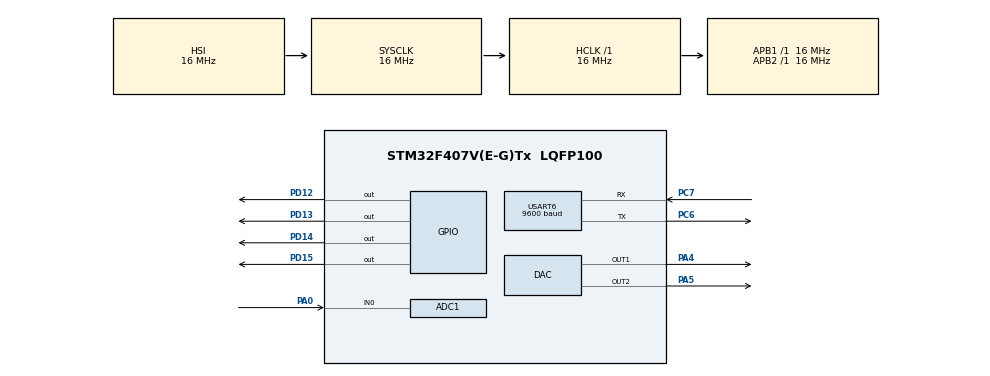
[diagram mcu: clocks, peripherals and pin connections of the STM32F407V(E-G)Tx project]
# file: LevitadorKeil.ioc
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Mcu.Family=STM32F4
SH.COMP_DAC1_group.0=DAC_OUT1,DAC_OUT1
RCC.CortexFreq_Value=16000000
ADC1.Rank-0\#ChannelRegularConversion=1
Dma.ADC1.1.MemDataAlignment=DMA_MDATAALIGN_HALFWORD
TIM3.Channel-Output\ Compare1\ No\ Output=TIM_CHANNEL_1
Dma.USART6_RX.0.PeriphInc=DMA_PINC_DISABLE
PC6.Signal=USART6_TX
NVIC.DMA2_Stream1_IRQn=true\:0\:0\:false\:false\:true\:false\:true
ProjectManager.StackSize=0x400
PA0-WKUP.Signal=ADCx_IN0
SH.COMP_DAC2_group.0=DAC_OUT2,DAC_OUT2
PD13.Signal=GPIO_Output
Dma.USART6_RX.0.Instance=DMA2_Stream1
Dma.USART6_RX.0.FIFOMode=DMA_FIFOMODE_DISABLE
Dma.USART6_RX.0.Direction=DMA_PERIPH_TO_MEMORY
ProjectManager.TargetToolchain=MDK-ARM V5.27
Dma.ADC1.1.Instance=DMA2_Stream0
PC6.Mode=Asynchronous
TIM3.Period=21600-1
PC7.Signal=USART6_RX
ADC1.InjNumberOfConversion=0
Dma.ADC1.1.PeriphDataAlignment=DMA_PDATAALIGN_HALFWORD
VP_TIM8_VS_ClockSourceINT.Mode=Internal
NVIC.DMA2_Stream0_IRQn=true\:0\:0\:false\:false\:true\:false\:true
RCC.LSE_VALUE=32768
RCC.AHBFreq_Value=16000000
PA5.Signal=COMP_DAC2_group
ADC1.Channel-0\#ChannelRegularConversion=ADC_CHANNEL_0
RCC.HSE_VALUE=25000000
ADC1.ScanConvMode=ENABLE
board=custom
VP_TIM3_VS_no_output1.Mode=Output Compare1 No Output
RCC.VCOOutputFreq_Value=192000000
NVIC.TIM3_IRQn=true\:0\:0\:false\:false\:true\:true\:true
ADC1.EnableAnalogWatchDog=false
DAC.DAC_Trigger2=DAC_TRIGGER_T8_TRGO
Dma.ADC1.1.FIFOMode=DMA_FIFOMODE_DISABLE
RCC.APB2Freq_Value=16000000
DAC.DAC_Trigger=DAC_TRIGGER_T8_TRGO
TIM3.Prescaler=10000-1
Dma.ADC1.1.Priority=DMA_PRIORITY_LOW
Dma.ADC1.1.Mode=DMA_CIRCULAR
SH.ADCx_IN0.0=ADC1_IN0,IN0
Dma.ADC1.1.PeriphInc=DMA_PINC_DISABLE
ADC1.DMAContinuousRequests=ENABLE
ADC1.NbrOfConversion=1
Mcu.Name=STM32F407V(E-G)Tx
ADC1.SamplingTime-0\#ChannelRegularConversion=ADC_SAMPLETIME_15CYCLES
ADC1.ExternalTrigConv=ADC_EXTERNALTRIGCONV_T8_TRGO
TIM8.Period=2000
PD14.Signal=GPIO_Output
PA4.Signal=COMP_DAC1_group
RCC.SYSCLKFreq_VALUE=16000000
Dma.USART6_RX.0.PeriphDataAlignment=DMA_PDATAALIGN_BYTE
Mcu.Package=LQFP100
ADC1.master=1
TIM8.TIM_MasterOutputTrigger=TIM_TRGO_UPDATE
USART6.VirtualMode=VM_ASYNC
Dma.ADC1.1.Direction=DMA_PERIPH_TO_MEMORY
PD12.Signal=GPIO_Output
Dma.ADC1.1.MemInc=DMA_MINC_ENABLE
Dma.USART6_RX.0.Mode=DMA_CIRCULAR
ProjectManager.HeapSize=0x200
USART6.BaudRate=9600
RCC.HSI_VALUE=16000000
Dma.USART6_RX.0.Priority=DMA_PRIORITY_LOW
Dma.USART6_RX.0.MemDataAlignment=DMA_MDATAALIGN_BYTE
NVIC.PriorityGroup=NVIC_PRIORITYGROUP_4
TIM8.Prescaler=7200-1
ADC1.NbrOfConversionFlag=1
Dma.USART6_RX.0.MemInc=DMA_MINC_ENABLE
Dma.Request1=ADC1
PC7.Mode=Asynchronous
Dma.Request0=USART6_RX
RCC.APB1Freq_Value=16000000
PD15.Signal=GPIO_Output

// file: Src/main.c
/* USER CODE BEGIN Header */
/**
  ******************************************************************************
  * @file           : main.c
  * @brief          : Main program body
  ******************************************************************************
  * @attention
  *
  * <h2><center>&copy; Copyright (c) 2021 STMicroelectronics.
  * All rights reserved.</center></h2>
  *
  * This software component is licensed by ST under BSD 3-Clause license,
  * the "License"; You may not use this file except in compliance with the
  * License. You may obtain a copy of the License at:
  *                        opensource.org/licenses/BSD-3-Clause
  *
  ******************************************************************************
  */
/* USER CODE END Header */
#include "main.h"

/* USER CODE BEGIN Includes */
#include <stdio.h>
#include <string.h>
#include "comm.h"
/* USER CODE END Includes */

ADC_HandleTypeDef hadc1;
DMA_HandleTypeDef hdma_adc1;

DAC_HandleTypeDef hdac;

TIM_HandleTypeDef htim3;
TIM_HandleTypeDef htim8;

UART_HandleTypeDef huart6;
DMA_HandleTypeDef hdma_usart6_rx;

/* USER CODE BEGIN PV */
	uint8_t rxData;
	uint8_t inputBuffer[30];
	uint8_t indice = 0;
	comando_in comando_uart;
	const uint8_t adcSamples = 1;  //puede ser otro numero
  uint16_t adcBuf[1];

/* USER CODE END PV */

void SystemClock_Config(void);
static void MX_GPIO_Init(void);
static void MX_DMA_Init(void);
static void MX_ADC1_Init(void);
static void MX_TIM3_Init(void);
static void MX_USART6_UART_Init(void);
static void MX_TIM8_Init(void);
static void MX_DAC_Init(void);

int main(void)
{

  /* MCU Configuration--------------------------------------------------------*/

  /* Reset of all peripherals, Initializes the Flash interface and the Systick. */
  HAL_Init();

  /* Configure the system clock */
  SystemClock_Config();

  /* Initialize all configured peripherals */
  MX_GPIO_Init();
  MX_DMA_Init();
  MX_ADC1_Init();
  MX_TIM3_Init();
  MX_USART6_UART_Init();
  MX_TIM8_Init();
  MX_DAC_Init();
  /* USER CODE BEGIN 2 */
	HAL_TIM_Base_Start(&htim8);   			 //inicio el timer para comenzar las conversiones del ADC
  HAL_ADC_Start_DMA(&hadc1, (uint32_t*) adcBuf, adcSamples);    //inicio el ADC en modo DMA
  HAL_TIM_Base_Start_IT(&htim3);
	HAL_DAC_Start(&hdac,DAC_CHANNEL_1);
	HAL_UART_Receive_DMA(&huart6, &rxData, 1);
	HAL_ADC_Start_DMA(&hadc1, (uint32_t*) adcBuf, adcSamples);
  /* USER CODE END 2 */

  /* Infinite loop */
  while (1)
  {

  }
}

void SystemClock_Config(void)
{
  RCC_OscInitTypeDef RCC_OscInitStruct = {0};
  RCC_ClkInitTypeDef RCC_ClkInitStruct = {0};

  /** Configure the main internal regulator output voltage
  */
  __HAL_RCC_PWR_CLK_ENABLE();
  __HAL_PWR_VOLTAGESCALING_CONFIG(PWR_REGULATOR_VOLTAGE_SCALE1);
  /** Initializes the RCC Oscillators according to the specified parameters
  * in the RCC_OscInitTypeDef structure.
  */
  RCC_OscInitStruct.OscillatorType = RCC_OSCILLATORTYPE_HSI;
  RCC_OscInitStruct.HSIState = RCC_HSI_ON;
  RCC_OscInitStruct.HSICalibrationValue = RCC_HSICALIBRATION_DEFAULT;
  RCC_OscInitStruct.PLL.PLLState = RCC_PLL_NONE;
  if (HAL_RCC_OscConfig(&RCC_OscInitStruct) != HAL_OK)
  {
    Error_Handler();
  }
  /** Initializes the CPU, AHB and APB buses clocks
  */
  RCC_ClkInitStruct.ClockType = RCC_CLOCKTYPE_HCLK|RCC_CLOCKTYPE_SYSCLK
                              |RCC_CLOCKTYPE_PCLK1|RCC_CLOCKTYPE_PCLK2;
  RCC_ClkInitStruct.SYSCLKSource = RCC_SYSCLKSOURCE_HSI;
  RCC_ClkInitStruct.AHBCLKDivider = RCC_SYSCLK_DIV1;
  RCC_ClkInitStruct.APB1CLKDivider = RCC_HCLK_DIV1;
  RCC_ClkInitStruct.APB2CLKDivider = RCC_HCLK_DIV1;

  if (HAL_RCC_ClockConfig(&RCC_ClkInitStruct, FLASH_LATENCY_0) != HAL_OK)
  {
    Error_Handler();
  }
}

static void MX_ADC1_Init(void)
{

  ADC_ChannelConfTypeDef sConfig = {0};

  /** Configure the global features of the ADC (Clock, Resolution, Data Alignment and number of conversion)
  */
  hadc1.Instance = ADC1;
  hadc1.Init.ClockPrescaler = ADC_CLOCK_SYNC_PCLK_DIV2;
  hadc1.Init.Resolution = ADC_RESOLUTION_12B;
  hadc1.Init.ScanConvMode = ENABLE;
  hadc1.Init.ContinuousConvMode = DISABLE;
  hadc1.Init.DiscontinuousConvMode = DISABLE;
  hadc1.Init.ExternalTrigConvEdge = ADC_EXTERNALTRIGCONVEDGE_RISING;
  hadc1.Init.ExternalTrigConv = ADC_EXTERNALTRIGCONV_T8_TRGO;
  hadc1.Init.DataAlign = ADC_DATAALIGN_RIGHT;
  hadc1.Init.NbrOfConversion = 1;
  hadc1.Init.DMAContinuousRequests = ENABLE;
  hadc1.Init.EOCSelection = ADC_EOC_SINGLE_CONV;
  if (HAL_ADC_Init(&hadc1) != HAL_OK)
  {
    Error_Handler();
  }
  /** Configure for the selected ADC regular channel its corresponding rank in the sequencer and its sample time.
  */
  sConfig.Channel = ADC_CHANNEL_0;
  sConfig.Rank = 1;
  sConfig.SamplingTime = ADC_SAMPLETIME_15CYCLES;
  if (HAL_ADC_ConfigChannel(&hadc1, &sConfig) != HAL_OK)
  {
    Error_Handler();
  }

}

static void MX_DAC_Init(void)
{

  DAC_ChannelConfTypeDef sConfig = {0};

  /** DAC Initialization
  */
  hdac.Instance = DAC;
  if (HAL_DAC_Init(&hdac) != HAL_OK)
  {
    Error_Handler();
  }
  /** DAC channel OUT1 config
  */
  sConfig.DAC_Trigger = DAC_TRIGGER_T8_TRGO;
  sConfig.DAC_OutputBuffer = DAC_OUTPUTBUFFER_ENABLE;
  if (HAL_DAC_ConfigChannel(&hdac, &sConfig, DAC_CHANNEL_1) != HAL_OK)
  {
    Error_Handler();
  }
  /** DAC channel OUT2 config
  */
  if (HAL_DAC_ConfigChannel(&hdac, &sConfig, DAC_CHANNEL_2) != HAL_OK)
  {
    Error_Handler();
  }

}

static void MX_TIM3_Init(void)
{

  TIM_MasterConfigTypeDef sMasterConfig = {0};
  TIM_OC_InitTypeDef sConfigOC = {0};

  htim3.Instance = TIM3;
  htim3.Init.Prescaler = 10000-1;
  htim3.Init.CounterMode = TIM_COUNTERMODE_UP;
  htim3.Init.Period = 21600-1;
  htim3.Init.ClockDivision = TIM_CLOCKDIVISION_DIV1;
  htim3.Init.AutoReloadPreload = TIM_AUTORELOAD_PRELOAD_DISABLE;
  if (HAL_TIM_OC_Init(&htim3) != HAL_OK)
  {
    Error_Handler();
  }
  sMasterConfig.MasterOutputTrigger = TIM_TRGO_RESET;
  sMasterConfig.MasterSlaveMode = TIM_MASTERSLAVEMODE_DISABLE;
  if (HAL_TIMEx_MasterConfigSynchronization(&htim3, &sMasterConfig) != HAL_OK)
  {
    Error_Handler();
  }
  sConfigOC.OCMode = TIM_OCMODE_TIMING;
  sConfigOC.Pulse = 0;
  sConfigOC.OCPolarity = TIM_OCPOLARITY_HIGH;
  sConfigOC.OCFastMode = TIM_OCFAST_DISABLE;
  if (HAL_TIM_OC_ConfigChannel(&htim3, &sConfigOC, TIM_CHANNEL_1) != HAL_OK)
  {
    Error_Handler();
  }

}

static void MX_TIM8_Init(void)
{

  TIM_ClockConfigTypeDef sClockSourceConfig = {0};
  TIM_MasterConfigTypeDef sMasterConfig = {0};

  htim8.Instance = TIM8;
  htim8.Init.Prescaler = 7200-1;
  htim8.Init.CounterMode = TIM_COUNTERMODE_UP;
  htim8.Init.Period = 2000;
  htim8.Init.ClockDivision = TIM_CLOCKDIVISION_DIV1;
  htim8.Init.RepetitionCounter = 0;
  htim8.Init.AutoReloadPreload = TIM_AUTORELOAD_PRELOAD_DISABLE;
  if (HAL_TIM_Base_Init(&htim8) != HAL_OK)
  {
    Error_Handler();
  }
  sClockSourceConfig.ClockSource = TIM_CLOCKSOURCE_INTERNAL;
  if (HAL_TIM_ConfigClockSource(&htim8, &sClockSourceConfig) != HAL_OK)
  {
    Error_Handler();
  }
  sMasterConfig.MasterOutputTrigger = TIM_TRGO_UPDATE;
  sMasterConfig.MasterSlaveMode = TIM_MASTERSLAVEMODE_DISABLE;
  if (HAL_TIMEx_MasterConfigSynchronization(&htim8, &sMasterConfig) != HAL_OK)
  {
    Error_Handler();
  }

}

static void MX_USART6_UART_Init(void)
{

  huart6.Instance = USART6;
  huart6.Init.BaudRate = 9600;
  huart6.Init.WordLength = UART_WORDLENGTH_8B;
  huart6.Init.StopBits = UART_STOPBITS_1;
  huart6.Init.Parity = UART_PARITY_NONE;
  huart6.Init.Mode = UART_MODE_TX_RX;
  huart6.Init.HwFlowCtl = UART_HWCONTROL_NONE;
  huart6.Init.OverSampling = UART_OVERSAMPLING_16;
  if (HAL_UART_Init(&huart6) != HAL_OK)
  {
    Error_Handler();
  }

}

static void MX_DMA_Init(void)
{

  /* DMA controller clock enable */
  __HAL_RCC_DMA2_CLK_ENABLE();

  /* DMA interrupt init */
  /* DMA2_Stream0_IRQn interrupt configuration */
  HAL_NVIC_SetPriority(DMA2_Stream0_IRQn, 0, 0);
  HAL_NVIC_EnableIRQ(DMA2_Stream0_IRQn);
  /* DMA2_Stream1_IRQn interrupt configuration */
  HAL_NVIC_SetPriority(DMA2_Stream1_IRQn, 0, 0);
  HAL_NVIC_EnableIRQ(DMA2_Stream1_IRQn);

}

static void MX_GPIO_Init(void)
{
  GPIO_InitTypeDef GPIO_InitStruct = {0};

  /* GPIO Ports Clock Enable */
  __HAL_RCC_GPIOA_CLK_ENABLE();
  __HAL_RCC_GPIOD_CLK_ENABLE();
  __HAL_RCC_GPIOC_CLK_ENABLE();

  /*Configure GPIO pin Output Level */
  HAL_GPIO_WritePin(GPIOD, GPIO_PIN_12|GPIO_PIN_13|GPIO_PIN_14|GPIO_PIN_15, GPIO_PIN_RESET);

  /*Configure GPIO pins : PD12 PD13 PD14 PD15 */
  GPIO_InitStruct.Pin = GPIO_PIN_12|GPIO_PIN_13|GPIO_PIN_14|GPIO_PIN_15;
  GPIO_InitStruct.Mode = GPIO_MODE_OUTPUT_PP;
  GPIO_InitStruct.Pull = GPIO_NOPULL;
  GPIO_InitStruct.Speed = GPIO_SPEED_FREQ_LOW;
  HAL_GPIO_Init(GPIOD, &GPIO_InitStruct);

}

/* USER CODE BEGIN 4 */
/*
void HAL_TIM_PeriodElapsedCallback(TIM_HandleTypeDef *htim){

	char buf[] = "CONECTADO\r\n\0";
	HAL_UART_Transmit(&huart6,(uint8_t*) buf, strlen(buf), 100);
	HAL_GPIO_TogglePin(GPIOD, GPIO_PIN_12);
	HAL_GPIO_TogglePin(GPIOD, GPIO_PIN_13);
	HAL_GPIO_TogglePin(GPIOD, GPIO_PIN_14);
}

void HAL_UART_RxCpltCallback(UART_HandleTypeDef *huart){

		inputBuffer[indice] = rxData;
		if(rxData == '\n'){
			HAL_GPIO_TogglePin(GPIOD, GPIO_PIN_15);
			indice = 0;
		}
		else
			indice++;
		HAL_UART_Receive_IT(&huart6, &rxData, 1);
}
*/
/* USER CODE END 4 */

void Error_Handler(void)
{
}

/************************ (C) COPYRIGHT STMicroelectronics *****END OF FILE****/
